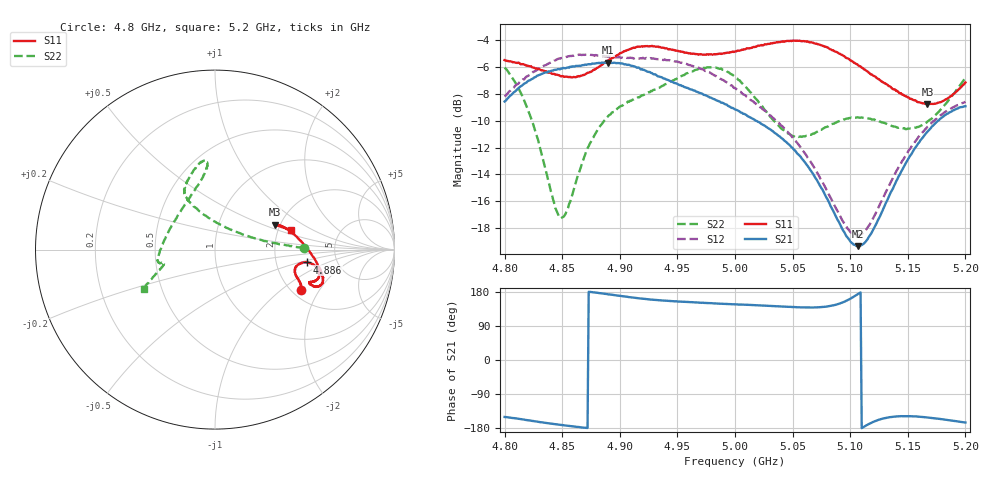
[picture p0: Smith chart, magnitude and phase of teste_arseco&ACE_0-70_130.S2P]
! Network Analyzer HP8722D
! Hewlett-Packard
! Data name: Linha & Wilkinson
! Saver's name: Rodrigo Anjos
! Comments: Teste da utilização de aquisição
! continua pelo VNA HP8722D
! Time and date: 8/5/2025 13:50
!  Frequency  S11  S21  S12  S22
# HZ  S  MA R 50
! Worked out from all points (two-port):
!   401 points, 4.8 GHz to 5.2 GHz, reference 50 ohm
!   highest |S21| = -5.68 dB at 4.89 GHz (marker M1); lowest = -19.3 dB at 5.107 GHz (marker M2)
!   |S21| within 3 dB of the highest: start of sweep to 4.989 GHz
!   lowest |S11| = -8.8 dB at 5.167 GHz (marker M3), VSWR 2.14, Z = 94.2 + j30.4 ohm
!   |S11| at or under -10 dB: nowhere
!   |S22| runs from -17.3 to -6.0 dB; largest |S21 - S12| = 1.1
!   S11 on the Smith chart (normalised r, x): 4.8 GHz: 2.24, -1.41; 4.886 GHz: 3.01, -0.59; 5.2 GHz: 2.35, +0.64
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4.8e9  0.5309 -25.1  0.3725 -150.3  0.3886 9.1  0.4979 1.0
4.811e9  0.518 -22.6  0.4138 -154.8  0.4315 7.5  0.425 2.8
4.822e9  0.5041 -20.7  0.4467 -159.5  0.4679 5.8  0.3316 6.2
4.847e9  0.4667 -16.4  0.4921 -170.5  0.5383 1.9  0.1397 54.1
4.853e9  0.4611 -14.9  0.4955 -172.9  0.5453 0.9  0.1427 78.8
4.867e9  0.465 -11.0  0.5076 -177.9  0.5546 -1.2  0.218 109.9
4.886e9  0.5169 -8.0  0.5191 175.2  0.55 -2.4  0.3142 118.6
4.89e9  0.5297 -8.1  0.5201 173.0  0.5476 -2.4  0.3294 118.7
4.913e9  0.5895 -11.5  0.5029 164.2  0.541 -1.6  0.382 116.3
4.934e9  0.5937 -16.2  0.4615 157.6  0.536 -2.7  0.4189 110.7
4.971e9  0.5578 -19.2  0.399 150.8  0.4914 -6.2  0.4962 98.4
5e9  0.5719 -20.2  0.3483 146.9  0.4182 -6.2  0.4596 95.8
5.044e9  0.6243 -18.1  0.2644 140.7  0.2919 2.1  0.287 131.7
5.067e9  0.6166 -13.9  0.2027 138.6  0.2178 9.0  0.2821 164.9
5.096e9  0.5433 -3.7  0.119 155.5  0.1286 35.8  0.3206 -171.8
5.107e9  0.5078 1.5  0.1079 174.7  0.1184 57.2  0.325 -168.2
5.117e9  0.4742 6.6  0.1183 -167.8  0.1301 76.4  0.3215 -166.8
5.134e9  0.4245 15.0  0.1663 -151.1  0.1822 94.5  0.3051 -165.8
5.151e9  0.3845 20.7  0.2298 -148.3  0.2461 100.1  0.2954 -164.8
5.167e9  0.364 22.6  0.2876 -151.5  0.2999 101.0  0.3135 -161.7
5.182e9  0.3773 20.5  0.3312 -157.2  0.3398 101.3  0.3617 -157.1
5.2e9  0.4385 14.6  0.3578 -165.0  0.3719 101.6  0.4545 -151.1
